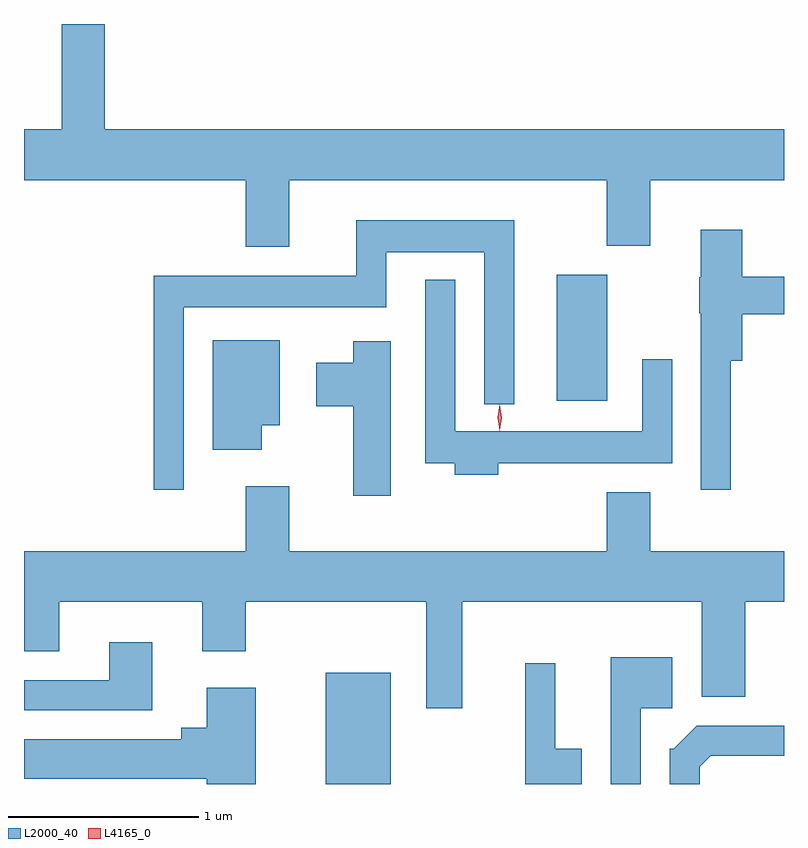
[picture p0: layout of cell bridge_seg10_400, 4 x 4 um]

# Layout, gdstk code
import gdstk
lib = gdstk.Library(unit=1e-6, precision=1e-09)
def R(c, l, rs):  # rectangles x0, y0, x1, y1
    for r in rs: c.add(gdstk.rectangle(r[:2], r[2:], *l))
def P(c, l, *ps):  # polygons
    for p in ps: c.add(gdstk.Polygon(p, *l))
L2000_40 = (2000, 40)
L4165_0 = (4165, 0)

bridge_seg10_400 = lib.new_cell('bridge_seg10_400')
R(bridge_seg10_400, L2000_40, [(1406.921,2119.618,1407.264,2120.204), (1408.136,2121.636,1408.404,2122.299)])
P(bridge_seg10_400, L2000_40, [(1406.729,2122.796),(1408.401,2122.796),(1408.401,2122.451),(1408.629,2122.451),(1408.629,2122.796),(1409.333,2122.796),(1409.333,2123.064),(1405.759,2123.064),(1405.759,2123.618),(1405.531,2123.618),(1405.531,2123.064),(1405.333,2123.064),(1405.333,2122.796),(1406.501,2122.796),(1406.501,2122.446),(1406.729,2122.446)],
  [(1406.174,2122.126),(1407.239,2122.126),(1407.239,2122.416),(1407.756,2122.416),(1407.756,2121.618),(1407.914,2121.618),(1407.914,2122.584),(1407.081,2122.584),(1407.081,2122.294),(1406.016,2122.294),(1406.016,2121.168),(1406.174,2121.168)],
  [(1409.054,2121.846),(1409.114,2121.846),(1409.114,2122.091),(1409.333,2122.091),(1409.333,2122.289),(1409.114,2122.289),(1409.114,2122.534),(1408.896,2122.534),(1408.896,2122.285),(1408.886,2122.285),(1408.886,2122.095),(1408.896,2122.095),(1408.896,2121.168),(1409.054,2121.168)],
  [(1407.829,2121.306),(1408.744,2121.306),(1408.744,2121.853),(1408.586,2121.853),(1408.586,2121.474),(1407.604,2121.474),(1407.604,2122.273),(1407.446,2122.273),(1407.446,2121.306),(1407.601,2121.306),(1407.601,2121.246),(1407.829,2121.246)],
  [(1406.584,2121.506),(1406.679,2121.506),(1406.679,2121.954),(1406.326,2121.954),(1406.326,2121.376),(1406.584,2121.376)],
  [(1407.264,2121.949),(1407.066,2121.949),(1407.066,2121.834),(1406.871,2121.834),(1406.871,2121.606),(1407.066,2121.606),(1407.066,2121.136),(1407.264,2121.136)],
  [(1407.639,2120.576),(1408.901,2120.576),(1408.901,2120.076),(1409.129,2120.076),(1409.129,2120.576),(1409.333,2120.576),(1409.333,2120.844),(1408.629,2120.844),(1408.629,2121.154),(1408.401,2121.154),(1408.401,2120.844),(1406.729,2120.844),(1406.729,2121.184),(1406.501,2121.184),(1406.501,2120.844),(1405.333,2120.844),(1405.333,2120.316),(1405.519,2120.316),(1405.519,2120.576),(1406.271,2120.576),(1406.271,2120.316),(1406.499,2120.316),(1406.499,2120.576),(1407.451,2120.576),(1407.451,2120.016),(1407.639,2120.016)],
  [(1406.009,2120.364),(1405.781,2120.364),(1405.781,2120.164),(1405.333,2120.164),(1405.333,2120.006),(1406.009,2120.006)],
  [(1408.579,2120.016),(1408.744,2120.016),(1408.744,2120.284),(1408.421,2120.284),(1408.421,2119.618),(1408.579,2119.618)],
  [(1408.269,2119.804),(1408.129,2119.804),(1408.129,2120.253),(1407.971,2120.253),(1407.971,2119.618),(1408.269,2119.618)],
  [(1406.554,2120.124),(1406.296,2120.124),(1406.296,2119.914),(1406.161,2119.914),(1406.161,2119.854),(1405.333,2119.854),(1405.333,2119.646),(1406.296,2119.646),(1406.296,2119.618),(1406.554,2119.618)],
  [(1408.889,2119.709),(1408.947,2119.766),(1409.333,2119.766),(1409.333,2119.924),(1408.874,2119.924),(1408.754,2119.804),(1408.731,2119.804),(1408.731,2119.618),(1408.889,2119.618)])
P(bridge_seg10_400, L4165_0, [(1407.837,2121.479),(1407.837,2121.48),(1407.827,2121.546),(1407.836,2121.612),(1407.837,2121.613),(1407.838,2121.612),(1407.847,2121.546),(1407.838,2121.48)],
  [(1407.836,2121.477),(1407.836,2121.477),(1407.826,2121.547),(1407.836,2121.616),(1407.836,2121.616),(1407.836,2121.616),(1407.846,2121.547),(1407.836,2121.477)])

lib.write_gds('bridge_seg10_400.gds')
